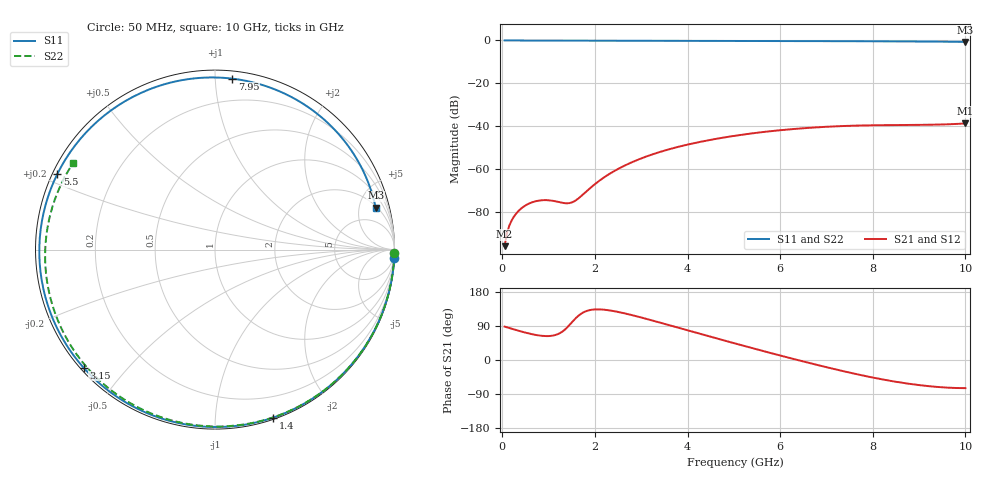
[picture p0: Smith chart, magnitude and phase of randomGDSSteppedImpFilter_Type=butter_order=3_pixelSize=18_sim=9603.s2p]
! freq	dB(S11)	phase(S11)	dB(S12)	phase(S12)
!  dB(S21)	phase(S21)	dB(S22)	phase(S22)
!S-par simulation data
#  GHz  S  DB  R 50
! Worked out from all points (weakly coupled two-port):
!   200 points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, 50 MHz to 10 GHz, reference 50 ohm
!   highest |S21| = -38.63 dB at 10 GHz (marker M1); lowest = -95.8 dB at 50 MHz (marker M2)
!   lowest |S11| = -0.7 dB at 10 GHz (marker M3), VSWR 25.78, Z = 109 + j356 ohm
!   |S11| at or under -10 dB: nowhere
!   |S22| runs from -0.7 to 0.0 dB; largest |S21 - S12| = 0
!   S11 on the Smith chart (normalised r, x): 50 MHz: 0, -42; 1.4 GHz: 0.01, -1.40; 3.15 GHz: 0.01, -0.38; 5.5 GHz: 0.01, +0.23; 7.95 GHz: 0.05, +1.11; 10 GHz: 2.19, +7.12
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0.05  -0.00 -2.7  -95.79 88.1  -95.79 88.1  -0.00 -1.1
0.3  -0.02 -16.1  -80.59 79.0  -80.59 79.0  -0.01 -6.8
0.55  -0.04 -29.3  -76.23 70.7  -76.23 70.7  -0.02 -12.4
0.8  -0.05 -42.1  -74.54 64.6  -74.54 64.6  -0.02 -18.0
1.1  -0.07 -56.9  -74.69 64.6  -74.69 64.6  -0.03 -24.6
1.4  -0.08 -71.0  -75.83 85.7  -75.83 85.7  -0.04 -31.2
1.55  -0.09 -77.7  -74.94 105.7  -74.94 105.7  -0.04 -34.5
1.75  -0.10 -86.4  -71.59 125.6  -71.59 125.6  -0.05 -38.9
2.35  -0.12 -110.3  -61.66 130.3  -61.66 130.3  -0.07 -51.8
3.15  -0.14 -138.1  -53.73 107.2  -53.73 107.2  -0.09 -68.5
3.4  -0.14 -146.0  -51.95 98.8  -51.95 98.8  -0.10 -73.7
4.2  -0.17 -169.8  -47.55 71.4  -47.55 71.4  -0.13 -89.8
5.05  -0.21 166.5  -44.29 42.9  -44.29 42.9  -0.17 -106.5
5.5  -0.23 154.3  -42.97 28.0  -42.97 28.0  -0.19 -115.2
6.1  -0.26 137.9  -41.60 8.6  -41.60 8.6  -0.23 -126.9
6.7  -0.29 121.2  -40.58 -10.0  -40.58 -10.0  -0.27 -138.5
7.35  -0.33 102.4  -39.85 -29.1  -39.85 -29.1  -0.33 -151.4
7.95  -0.38 84.2  -39.51 -45.1  -39.51 -45.1  -0.39 -163.7
8.35  -0.41 71.5  -39.41 -54.3  -39.41 -54.3  -0.44 -172.2
9.1  -0.50 46.6  -39.29 -67.6  -39.29 -67.6  -0.54 171.0
9.55  -0.57 30.9  -39.09 -72.5  -39.09 -72.5  -0.60 160.2
10  -0.67 14.6  -38.63 -74.3  -38.63 -74.3  -0.67 148.8
